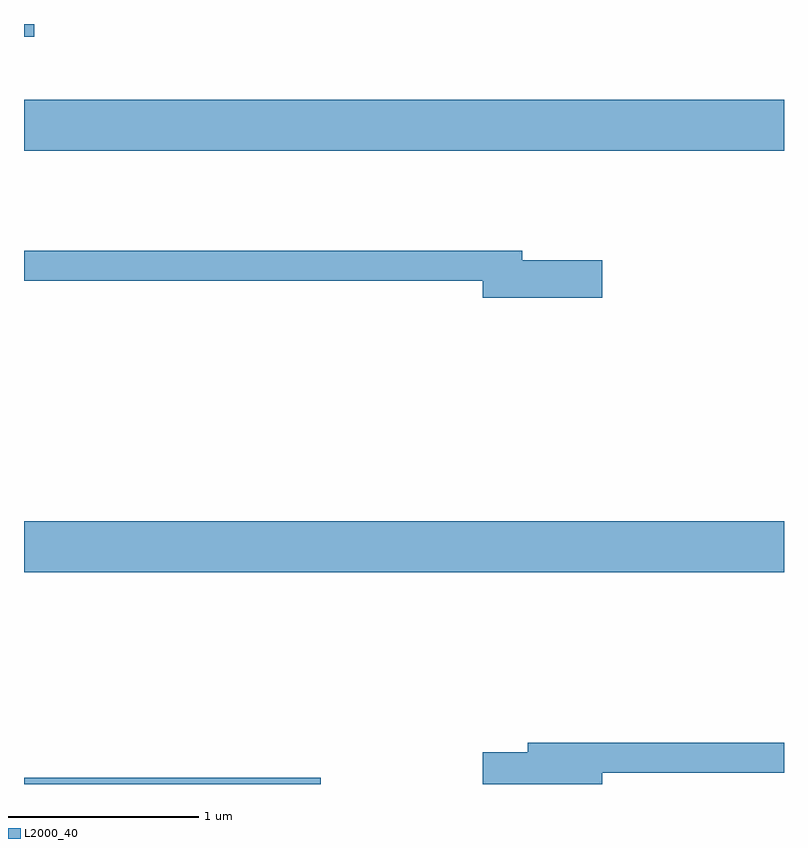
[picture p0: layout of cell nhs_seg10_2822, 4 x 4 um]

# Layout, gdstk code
import gdstk
lib = gdstk.Library(unit=1e-6, precision=1e-09)
def R(c, l, rs):  # rectangles x0, y0, x1, y1
    for r in rs: c.add(gdstk.rectangle(r[:2], r[2:], *l))
def P(c, l, *ps):  # polygons
    for p in ps: c.add(gdstk.Polygon(p, *l))
L2000_40 = (2000, 40)

nhs_seg10_2822 = lib.new_cell('nhs_seg10_2822')
R(nhs_seg10_2822, L2000_40, [(267.611,2170.522,269.174,2170.554), (267.611,2171.636,271.611,2171.904), (267.611,2173.856,271.611,2174.124), (267.611,2174.456,267.664,2174.522)])
P(nhs_seg10_2822, L2000_40, [(270.654,2173.279),(270.234,2173.279),(270.234,2173.329),(267.611,2173.329),(267.611,2173.171),(270.026,2173.171),(270.026,2173.081),(270.654,2173.081)],
  [(270.654,2170.581),(271.611,2170.581),(271.611,2170.739),(270.261,2170.739),(270.261,2170.689),(270.026,2170.689),(270.026,2170.522),(270.654,2170.522)])

lib.write_gds('nhs_seg10_2822.gds')
